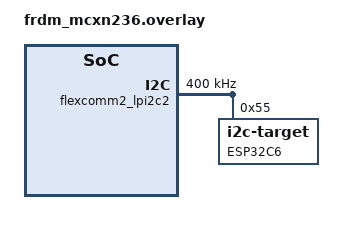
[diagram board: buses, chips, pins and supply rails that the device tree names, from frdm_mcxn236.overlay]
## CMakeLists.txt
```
# SPDX-License-Identifier: Apache-2.0

cmake_minimum_required(VERSION 3.20.0)

find_package(Zephyr REQUIRED HINTS $ENV{ZEPHYR_BASE})

project(exercise-2)

target_sources(app PRIVATE src/main.c)
```

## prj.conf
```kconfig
CONFIG_I2C=y
CONFIG_RTC=y
CONFIG_CONSOLE_SUBSYS=y
CONFIG_CONSOLE_GETCHAR=y
CONFIG_CONSOLE_GETCHAR_BUFSIZE=64
CONFIG_CONSOLE_PUTCHAR_BUFSIZE=512
```

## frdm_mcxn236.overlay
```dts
#include <zephyr/dt-bindings/i2c/i2c.h>

&flexcomm2_lpi2c2 {
	clock-frequency = <I2C_BITRATE_FAST>; 
	esp32c6: esp32c6@55 {
		reg = <0x55>;
		status = "okay";
		label = "ESP32C6";
		compatible = "zephyr,i2c-target"; /* Custom target. It is not mandatory. */
	};
};
```

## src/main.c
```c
/**
 * @file main.c
 * @author Faroch Mehri (faroch.mehri@ya.se)
 * @brief An example of I2C in master mode.
 *        Look at: https://docs.zephyrproject.org/latest/hardware/peripherals/i2c.html
 *                 https://docs.zephyrproject.org/latest/doxygen/html/group__i2c__interface.html
 *                 https://docs.zephyrproject.org/latest/build/dts/intro-syntax-structure.html
 *
 * @version 0.1
 * @date 2025-02-09
 *
 * @copyright Copyright (c) 2025
 *
 */
#include <time.h>
#include <ctype.h>
#include <stdlib.h>
#include <zephyr/kernel.h>
#include <zephyr/drivers/rtc.h>
#include <zephyr/drivers/i2c.h>
#include <zephyr/console/console.h>

#define RTC_NODE DT_ALIAS(rtc)
#define I2C_NODE DT_NODELABEL(esp32c6)

static int read_command(void)
{
	int chr = EOF;

	while ((chr != 'S') && (chr != 'D') && (chr != '\n'))
	{
		chr = toupper(console_getchar());

		if (chr == '\r')
		{
			chr = '\n';
		}
	}

	console_putchar(chr);

	return chr;
}

int main(void)
{
	const struct device *rtc_dev = DEVICE_DT_GET(RTC_NODE);
	if (!device_is_ready(rtc_dev))
	{
		printk("The RTC device is not ready.\n");
		exit(EXIT_FAILURE);
	}

	const struct i2c_dt_spec i2c_dev = I2C_DT_SPEC_GET(I2C_NODE);
	if (!i2c_is_ready_dt(&i2c_dev))
	{
		printk("I2C device not found!");
		exit(EXIT_FAILURE);
	}

	if (0 != console_init())
	{
		printk("Failed to initialize console.\n");
		exit(EXIT_FAILURE);
	}

	char command;
	struct rtc_time datetime = {0};

	while (1)
	{
		printf("S) Synchronize datetime\n"
			   "D) Display datetime\n"
			   "Enter a command: ");

		command = read_command();

		switch (command)
		{
		case 'S':
		{
			if (0 == i2c_write_dt(&i2c_dev, &command, sizeof(command)))
			{
				if (0 == i2c_read_dt(&i2c_dev, (uint8_t *)&datetime, sizeof(struct tm)))
				{
					if (datetime.tm_year > 0)
					{
						datetime.tm_nsec = 0;
						if (0 != rtc_set_time(rtc_dev, &datetime))
						{
							printk("Failed to set the RTC time!\n");
							exit(EXIT_FAILURE);
						}

						printk("\nSynchronized!\n\n");
					}
					else
					{
						printk("\nSynchronization failed!\n\n");
					}
				}
				else
				{
					printf("\nFailed to read\n");
				}
			}
			else
			{
				printf("\nFailed to write\n");
			}
		}
		break;

		case 'D':
		{
			if (0 != rtc_get_time(rtc_dev, &datetime))
			{
				printk("\nFailed to get the RTC time!\n");
				exit(EXIT_FAILURE);
			}
			else
			{
				printk("\n%04d-%02d-%02d %02d:%02d:%02d\n\n",
					   datetime.tm_year + 1900, datetime.tm_mon + 1, datetime.tm_mday,
					   datetime.tm_hour, datetime.tm_min, datetime.tm_sec);
			}
		}
		break;

		default:
			printf("\n");
			break;
		}
	}

	return EXIT_SUCCESS;
}
```
